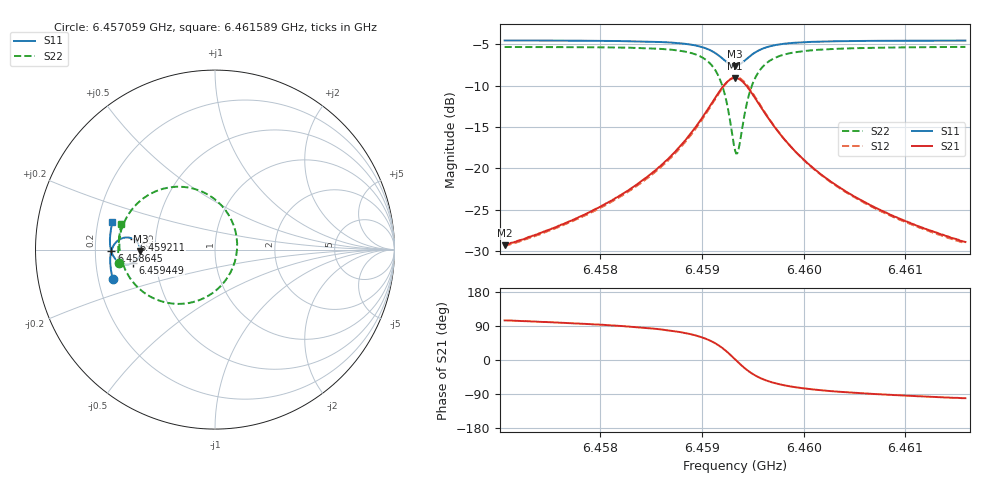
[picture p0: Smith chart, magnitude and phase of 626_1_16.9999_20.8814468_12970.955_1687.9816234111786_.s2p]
#  HZ  S  RI  R  50.00
! Rohde & Schwarz Vector Network Analyzer
! Rohde-Schwarz,ZNB20-2Port,1311601062101988,3.16
! Created: UTC 3/20/2024, 11:20:08 PM
! freq[Hz]  re:S11  im:S11  re:S21  im:S21  re:S12  im:S12  re:S22  im:S22
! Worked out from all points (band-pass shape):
!   401 points, 6.457059 GHz to 6.461589 GHz, reference 50 ohm
!   highest |S21| = -9.08 dB at 6.459324 GHz (marker M1); lowest = -29.3 dB at 6.457059 GHz (marker M2)
!   |S21| within 3 dB of the highest: 6.459098 GHz to 6.459551 GHz (453.3 kHz wide, 0.00702 % of centre)
!   lowest |S11| = -7.6 dB at 6.459324 GHz (marker M3), VSWR 2.42, Z = 20.6 - j0.376 ohm
!   |S11| at or under -10 dB: nowhere
!   |S22| runs from -18.2 to -5.3 dB; largest |S21 - S12| = 0.014
!   S11 on the Smith chart (normalised r, x): 6.457059 GHz: 0.26, -0.13; 6.458645 GHz: 0.27, -0.01; 6.459211 GHz: 0.38, +0.05; 6.459449 GHz: 0.37, -0.07; 6.461589 GHz: 0.26, +0.12
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6.4570588e9  -0.5686 -0.1658  -0.00858 0.0332  -0.00685 0.0331  -0.5351 -0.077
6.4578177e9  -0.5816 -0.0992  -0.00524 0.0513  -0.00251 0.0507  -0.539 0.0132
6.4582481e9  -0.5841 -0.0555  0.00132 0.0717  0.00467 0.0703  -0.5293 0.0827
6.4585766e9  -0.5797 -0.0157  0.0154 0.1003  0.0195 0.0974  -0.5031 0.1585
6.4586446e9  -0.5774 -0.00624  0.0209 0.1088  0.0249 0.1055  -0.4928 0.1786
6.4588371e9  -0.5644 0.0241  0.0479 0.1398  0.0522 0.1348  -0.4416 0.2481
6.4589844e9  -0.5412 0.0503  0.0943 0.1705  0.0974 0.1637  -0.3561 0.3126
6.4591203e9  -0.4968 0.0675  0.1828 0.1866  0.1837 0.1792  -0.194 0.3502
6.4592109e9  -0.4516 0.0568  0.2738 0.1543  0.2741 0.1485  -0.0251 0.2975
6.4592788e9  -0.4223 0.0239  0.3348 0.081  0.3371 0.0758  0.0914 0.1648
6.4593241e9  -0.4155 -0.00754  0.3512 0.012  0.355 0.00496  0.1235 0.0352
6.4593581e9  -0.4194 -0.0316  0.3449 -0.0413  0.349 -0.0505  0.111 -0.066
6.4594034e9  -0.4354 -0.0582  0.3155 -0.1021  0.3179 -0.1143  0.0514 -0.181
6.4594487e9  -0.4577 -0.0747  0.2725 -0.1434  0.2718 -0.1571  -0.0361 -0.2567
6.4595393e9  -0.5019 -0.0817  0.1861 -0.1746  0.1798 -0.1865  -0.2086 -0.3025
6.4596073e9  -0.5266 -0.0743  0.137 -0.1724  0.1287 -0.1815  -0.3038 -0.2864
6.4596866e9  -0.5462 -0.061  0.0968 -0.16  0.0881 -0.1663  -0.379 -0.2508
6.4598452e9  -0.5681 -0.0333  0.0515 -0.1313  0.0436 -0.1341  -0.4602 -0.177
6.460083e9  -0.5808 0.00235  0.0222 -0.0989  0.016 -0.0995  -0.5084 -0.093
6.4604115e9  -0.5853 0.0419  0.00627 -0.0723  0.00213 -0.0718  -0.5294 -0.0153
6.4608419e9  -0.5834 0.0856  -0.00172 -0.0527  -0.00473 -0.0517  -0.5336 0.0553
6.4615894e9  -0.5714 0.1521  -0.00667 -0.0352  -0.00855 -0.0341  -0.5218 0.1448
